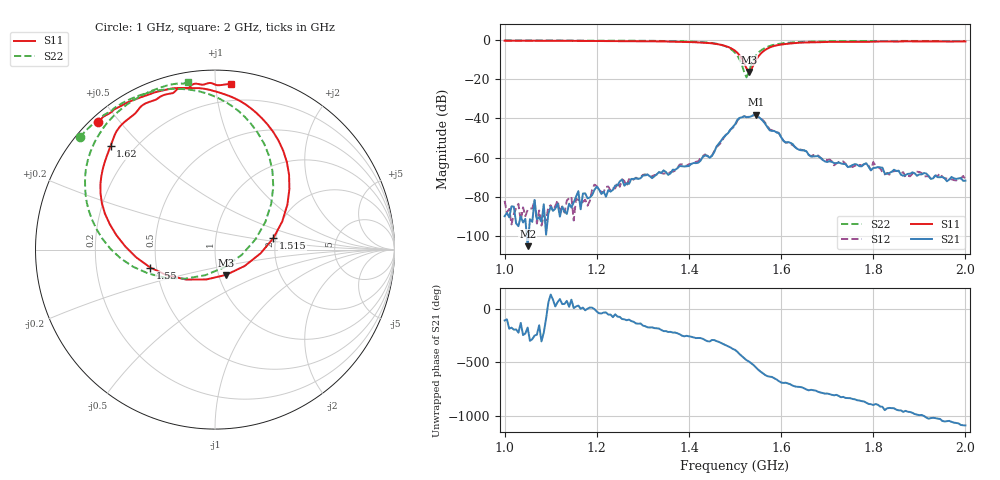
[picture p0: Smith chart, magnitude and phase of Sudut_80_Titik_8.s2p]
# Hz S RI R 50
! CMT, C1220, 16058040, 17.2.0/1
! Date: 14/08/2018 12:05:11
! Data: Format (Calibration Info)
! Freq  S11: Re/Im (F2)  S21: Re/Im (F2)  S12: Re/Im (F2)  S22: Re/Im (F2)
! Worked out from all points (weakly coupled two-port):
!   201 points, 1 GHz to 2 GHz, reference 50 ohm
!   highest |S21| = -38.14 dB at 1.545 GHz (marker M1); lowest = -105.3 dB at 1.05 GHz (marker M2)
!   lowest |S11| = -16.3 dB at 1.53 GHz (marker M3), VSWR 1.36, Z = 54.3 - j15.7 ohm
!   |S11| at or under -10 dB: 1.516 GHz to 1.546 GHz (30.15 MHz wide, 1.97 % of centre)
!   |S22| runs from -19.0 to -0.2 dB; largest |S21 - S12| = 0.00053
!   S11 on the Smith chart (normalised r, x): 1 GHz: 0.02, +0.44; 1.515 GHz: 1.94, +0.28; 1.55 GHz: 0.46, -0.11; 1.62 GHz: 0.12, +0.41; 2 GHz: 0.09, +1.09
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1e9  -0.6541 0.7099  -9.61e-06 -3.03e-05  -6.04e-05 -4.99e-05  -0.7534 0.6257
1.05e9  -0.6138 0.745  -5.41e-06 -5.45e-07  -1.34e-05 4.38e-05  -0.7185 0.663
1.17e9  -0.4859 0.8213  0.000117 2.57e-05  7.24e-05 6e-06  -0.616 0.7516
1.2e9  -0.4444 0.8365  0.000163 -7.54e-05  0.00015 -0.00011  -0.5822 0.7652
1.22e9  -0.4244 0.8449  8.31e-05 -5.44e-05  0.000116 -0.000133  -0.5711 0.7788
1.255e9  -0.3617 0.8664  -2.3e-05 -0.000272  2.9e-05 -0.000277  -0.5286 0.809
1.265e9  -0.3502 0.8711  -6.1e-05 -0.000212  -2.37e-05 -0.000186  -0.5149 0.8171
1.335e9  -0.2289 0.8991  -0.000419 3.02e-05  -0.000412 9.58e-05  -0.3996 0.8664
1.445e9  0.147 0.8238  0.000569 0.000809  0.00057 0.000821  -0.00627 0.8552
1.5e9  0.4145 0.3375  0.00646 -0.00273  0.00602 -0.00252  0.3248 0.35
1.515e9  0.3251 0.0637  0.00142 -0.0106  0.00171 -0.0106  0.225 0.0566
1.525e9  0.1653 -0.0913  -0.00543 -0.00921  -0.00544 -0.00935  0.0539 -0.0979
1.53e9  0.0622 -0.1408  -0.00722 -0.00807  -0.0073 -0.00818  -0.054 -0.1426
1.545e9  -0.2663 -0.1436  -0.0123 0.0015  -0.0122 0.00121  -0.3724 -0.1329
1.55e9  -0.3609 -0.1  -0.00987 0.00525  -0.0101 0.00485  -0.4566 -0.0952
1.58e9  -0.6302 0.2585  0.000611 0.00474  0.000935 0.00489  -0.7022 0.2145
1.62e9  -0.5819 0.5765  0.0023 0.000579  0.00217 0.000472  -0.7091 0.4962
1.67e9  -0.4606 0.7451  0.000804 -0.000699  0.00088 -0.000753  -0.6253 0.6733
1.795e9  -0.2241 0.8804  -0.000468 -6.08e-05  -0.000466 6.56e-05  -0.4297 0.8464
1.8e9  -0.219 0.886  -0.000538 2.47e-06  -0.000767 7.28e-07  -0.4228 0.8504
1.835e9  -0.1599 0.8984  -0.000357 0.000187  -0.00032 0.000177  -0.3749 0.8749
2e9  0.0866 0.9205  0.000251 -5.32e-05  0.000272 -8.62e-05  -0.1507 0.9338
